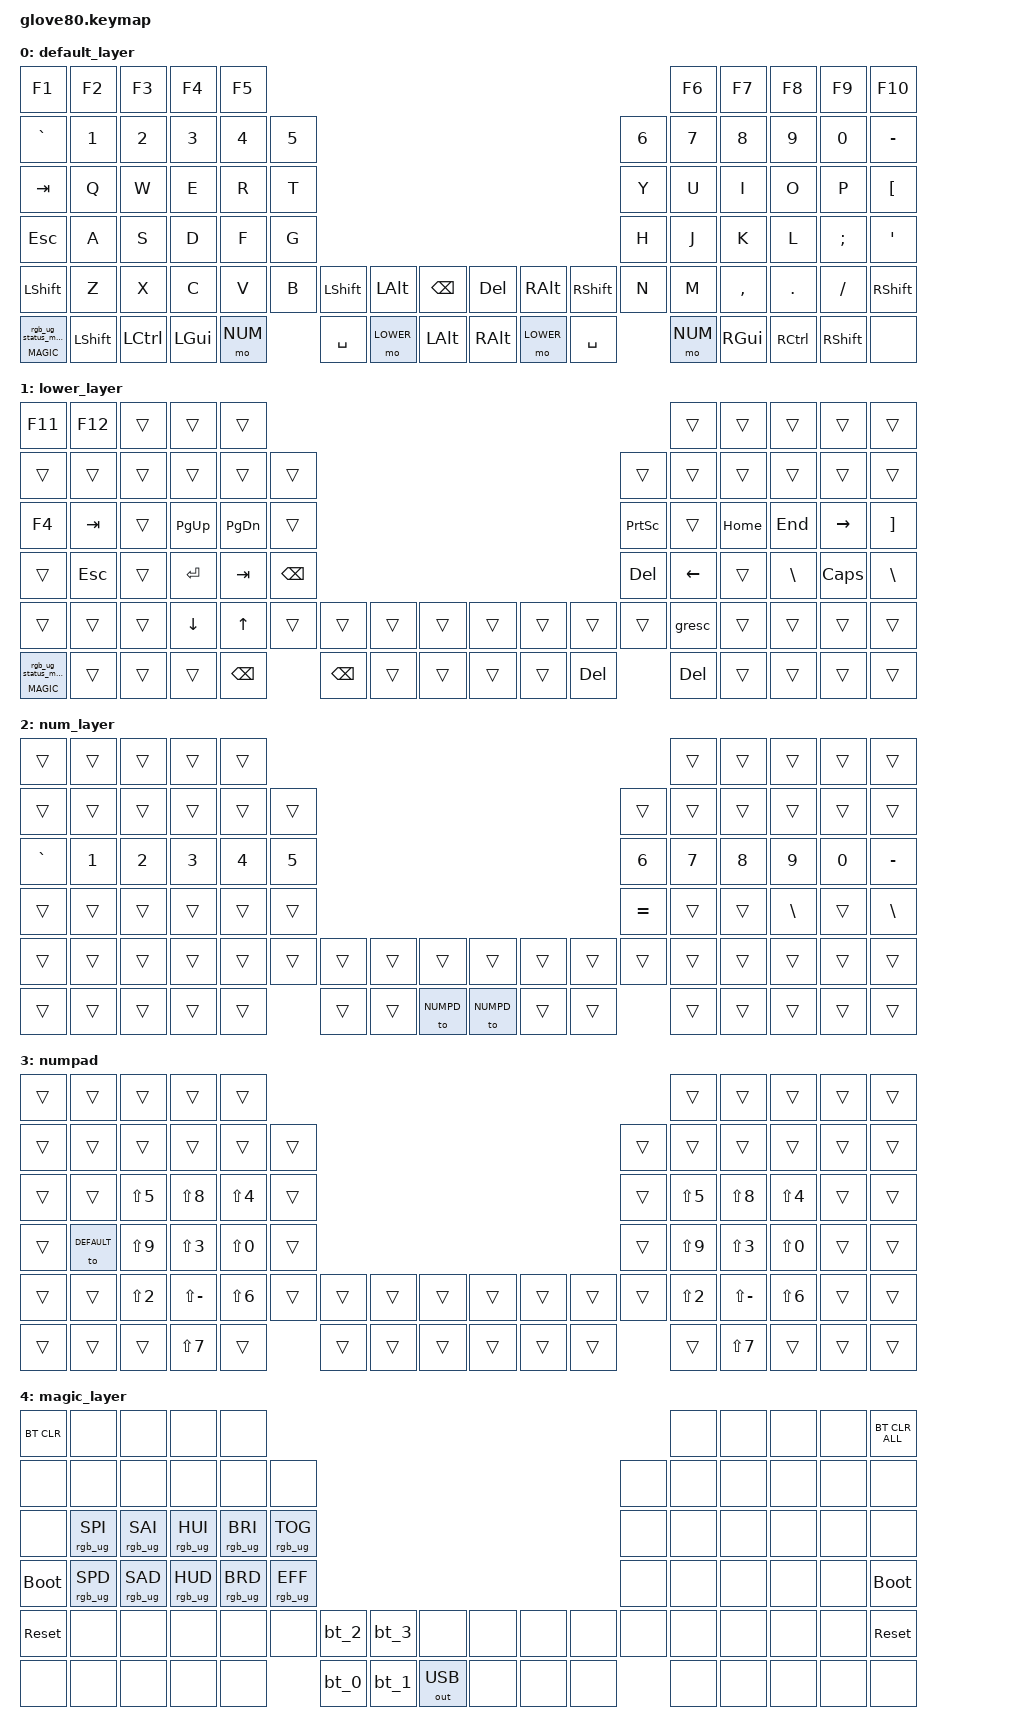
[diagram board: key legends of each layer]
/*
 * Copyright (c) 2020 The ZMK Contributors
 *
 * SPDX-License-Identifier: MIT
 */


#include <behaviors.dtsi>
#include <dt-bindings/zmk/keys.h>
#include <dt-bindings/zmk/bt.h>
#include <dt-bindings/zmk/ext_power.h>
#include <dt-bindings/zmk/outputs.h>
#include <dt-bindings/zmk/rgb.h>

#include "variables.h"

#define HYPER LC(LS(LG(LALT)))

// layers
#define DEFAULT 0
#define LOWER 1
#define NUM 2
#define NUMPD 3
#define MAGIC 4


/ {
    behaviors {
        // For the "layer" key, it'd nice to be able to use it as either a shift or a toggle.
        // Configure it as a tap dance, so the first tap (or hold) is a &mo and the second tap is a &to
        layer_td: tap_dance_0 {
            compatible = "zmk,behavior-tap-dance";
            label = "LAYER_TAP_DANCE";
            #binding-cells = <0>;
            tapping-term-ms = <200>;
            bindings = <&mo LOWER>, <&to LOWER>;
        };

        magic: magic_hold_tap {
            compatible = "zmk,behavior-hold-tap";
            label = "MAGIC_HOLD_TAP";
            #binding-cells = <2>;
            flavor = "tap-preferred";
            tapping-term-ms = <200>;
            bindings = <&mo>, <&rgb_ug_status_macro>;
        };

        ll: layer_mods_left_hand {
            compatible = "zmk,behavior-hold-tap";
            label = "LAYER_MODS_LEFT_HAND";
            flavor = "tap-preferred";
            hold-trigger-key-positions = <RIGHT_HAND_KEYS THUMB_KEYS>;
            tapping-term-ms = <HOMEY_TAPPING_TERM>;
            quick-tap-ms = <TYPING_STREAK_TERM>;
            #binding-cells = <2>;
            bindings = <&mo>, <&kp>;
        };

        rl: layer_mods_right_hand {
            compatible = "zmk,behavior-hold-tap";
            label = "LAYER_MODS_RIGHT_HAND";
            flavor = "tap-preferred";
            hold-trigger-key-positions = <LEFT_HAND_KEYS THUMB_KEYS>;
            tapping-term-ms = <HOMEY_TAPPING_TERM>;
            quick-tap-ms = <TYPING_STREAK_TERM>;
            #binding-cells = <2>;
            bindings = <&mo>, <&kp>;
        };
    };

    macros {
        rgb_ug_status_macro: rgb_ug_status_macro_0 {
            label = "RGB_UG_STATUS";
            compatible = "zmk,behavior-macro";
            #binding-cells = <0>;
            bindings
                = <&rgb_ug RGB_STATUS>;
        };

        bt_0: bt_profile_macro_0 {
            label = "BT_0";
            compatible = "zmk,behavior-macro";
            #binding-cells = <0>;
            bindings
                = <&out OUT_BLE>,
                  <&bt BT_SEL 0>;
        };

        bt_1: bt_profile_macro_1 {
            label = "BT_1";
            compatible = "zmk,behavior-macro";
            #binding-cells = <0>;
            bindings
                = <&out OUT_BLE>,
                  <&bt BT_SEL 1>;
        };

        bt_2: bt_profile_macro_2 {
            label = "BT_2";
            compatible = "zmk,behavior-macro";
            #binding-cells = <0>;
            bindings
                = <&out OUT_BLE>,
                  <&bt BT_SEL 2>;
        };

        bt_3: bt_profile_macro_3 {
            label = "BT_3";
            compatible = "zmk,behavior-macro";
            #binding-cells = <0>;
            bindings
                = <&out OUT_BLE>,
                  <&bt BT_SEL 3>;
        };
    };

    keymap {
        compatible = "zmk,keymap";

        default_layer {
            bindings = <
            &kp F1         &kp F2       &kp F3      &kp F4     &kp F5                                                                                                      &kp F6       &kp F7     &kp F8      &kp F9         &kp F10
            &kp GRAVE      &kp N1       &kp N2      &kp N3     &kp N4      &kp N5                                                                                &kp N6    &kp N7       &kp N8     &kp N9      &kp N0         &kp MINUS
            &kp TAB        &kp Q        &kp W       &kp E      &kp R       &kp T                                                                                 &kp Y     &kp U        &kp I      &kp O       &kp P          &kp LBKT
            &kp ESC        &kp A        &kp S       &kp D      &kp F       &kp G                                                                                 &kp H     &kp J        &kp K      &kp L       &kp SEMI       &kp SQT
            &kp LSHFT      &kp Z        &kp X       &kp C      &kp V       &kp B    &kp LSHFT        &kp LALT    &kp BSPC   &kp DEL   &kp RALT   &kp RSHFT       &kp N     &kp M        &kp COMMA  &kp DOT     &kp FSLH       &kp RSHFT
            &magic MAGIC 0 &kp LSHFT    &kp LCTRL   &kp LGUI   &mo NUM              &kp SPACE        &mo LOWER   &kp LALT   &kp RALT  &mo LOWER  &kp SPACE                 &mo NUM      &kp RGUI   &kp RCTRL   &kp RSHFT      &none
            >;
        };

        lower_layer {
            bindings = <
            &kp F11        &kp F12      &trans      &trans     &trans                                                                                                      &trans       &trans     &trans      &trans         &trans
            &trans         &trans       &trans      &trans     &trans      &trans                                                                                &trans    &trans       &trans     &trans      &trans         &trans
            &kp F4         &kp TAB      &trans      &kp PG_UP  &kp PG_DN   &trans                                                                                &kp PSCRN &trans       &kp HOME   &kp END     &kp RIGHT      &kp RBKT
            &trans         &kp ESC      &trans      &kp RET    &kp TAB     &kp BSPC                                                                              &kp DEL   &kp LEFT     &trans     &kp BSLH    &kp CAPS       &kp BSLH
            &trans         &trans       &trans      &kp DOWN   &kp UP      &trans   &trans           &trans      &trans     &trans    &trans    &trans           &trans    &gresc       &trans     &trans      &trans         &trans
            &magic MAGIC 0 &trans       &trans      &trans     &kp BSPC             &kp BSPC         &trans      &trans     &trans    &trans    &kp DEL                    &kp DEL      &trans     &trans      &trans         &trans
            >;
        };

        num_layer {
            bindings = <
            &trans         &trans       &trans      &trans     &trans                                                                                                      &trans       &trans     &trans      &trans         &trans
            &trans         &trans       &trans      &trans     &trans      &trans                                                                                &trans    &trans       &trans     &trans      &trans         &trans
            &kp GRAVE      &kp N1       &kp N2      &kp N3     &kp N4      &kp N5                                                                                &kp N6    &kp N7       &kp N8     &kp N9      &kp N0         &kp MINUS
            &trans         &trans       &trans      &trans     &trans      &trans                                                                                &kp EQUAL &trans       &trans     &kp BSLH    &trans         &kp BSLH
            &trans         &trans       &trans      &trans     &trans      &trans   &trans           &trans      &trans     &trans    &trans    &trans           &trans    &trans       &trans     &trans      &trans         &trans
            &trans         &trans       &trans      &trans     &trans               &trans           &trans      &to NUMPD  &to NUMPD &trans    &trans           &trans       &trans     &trans      &trans         &trans
            >;
        };

        numpad {
            bindings = <
            &trans         &trans       &trans      &trans     &trans                                                                                                      &trans       &trans     &trans      &trans         &trans
            &trans         &trans       &trans      &trans     &trans      &trans                                                                                &trans    &trans       &trans     &trans      &trans         &trans
            &trans         &trans       &kp LS(N5)  &kp LS(N8) &kp LS(N4)  &trans                                                                                &trans    &kp LS(N5)   &kp LS(N8) &kp LS(N4)  &trans         &trans
            &trans         &to DEFAULT  &kp LS(N9)  &kp LS(N3) &kp LS(N0)  &trans                                                                                &trans    &kp LS(N9)   &kp LS(N3) &kp LS(N0)  &trans         &trans
            &trans         &trans       &kp LS(N2)  &kp LS(MINUS) &kp LS(N6) &trans &trans           &trans      &trans     &trans    &trans    &trans           &trans    &kp LS(N2)   &kp LS(MINUS) &kp LS(N6) &trans       &trans
            &trans         &trans       &trans      &kp LS(N7) &trans               &trans           &trans      &trans     &trans    &trans    &trans                     &trans       &kp LS(N7) &trans      &trans         &trans
            >;
        };

        magic_layer {
            bindings = <
            &bt BT_CLR        &none               &none           &none           &none                                                                                                           &none      &none      &none      &none      &bt BT_CLR_ALL
            &none             &none               &none           &none           &none           &none                                                                                &none      &none      &none      &none      &none      &none
            &none             &rgb_ug RGB_SPI     &rgb_ug RGB_SAI &rgb_ug RGB_HUI &rgb_ug RGB_BRI &rgb_ug RGB_TOG                                                                      &none      &none      &none      &none      &none      &none
            &bootloader       &rgb_ug RGB_SPD     &rgb_ug RGB_SAD &rgb_ug RGB_HUD &rgb_ug RGB_BRD &rgb_ug RGB_EFF                                                                      &none      &none      &none      &none      &none      &bootloader
            &sys_reset        &none               &none           &none           &none           &none           &bt_2     &bt_3     &none            &none     &none     &none       &none      &none      &none      &none      &none      &sys_reset
            &none             &none               &none           &none           &none                           &bt_0     &bt_1     &out OUT_USB     &none     &none     &none                  &none      &none      &none      &none      &none
            >;
        };
    };
};
